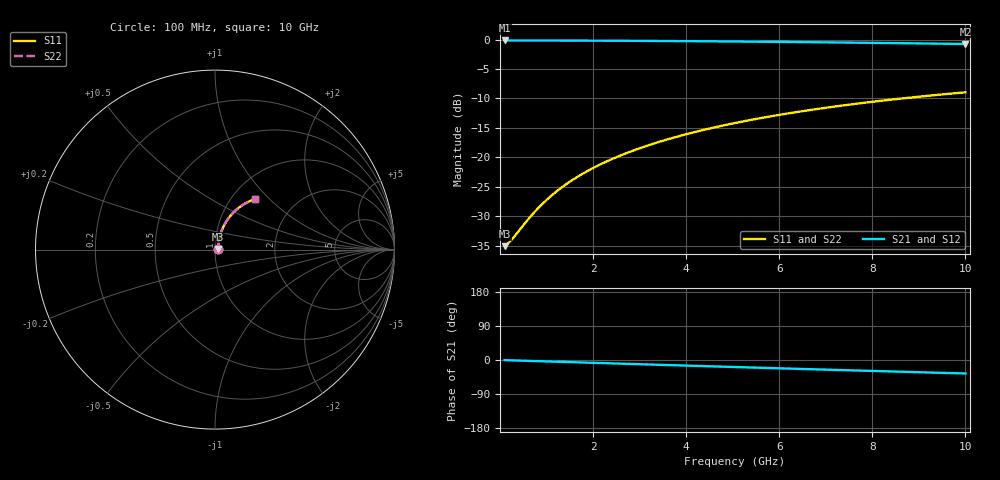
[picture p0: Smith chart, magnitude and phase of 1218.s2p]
# Hz S RI R 50.00
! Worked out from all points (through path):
!   100 points, 100 MHz to 10 GHz, reference 50 ohm
!   highest |S21| = -0.15 dB at 100 MHz (marker M1); lowest = -0.7 dB at 10 GHz (marker M2)
!   group delay of S21, straight-line fit = 9.9 ps
!   lowest |S11| = -35.1 dB at 100 MHz (marker M3), VSWR 1.04, Z = 51.8 + j0.401 ohm
!   |S11| at or under -10 dB: start of sweep to 8.634 GHz
!   |S22| runs from -35.1 to -9.0 dB; largest |S21 - S12| = 0
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1e8  0.0172 0.00387  0.9828 -0.00638  0.9828 -0.00638  0.0172 0.00387
2e8  0.0174 0.00774  0.9826 -0.0128  0.9826 -0.0128  0.0174 0.00774
3e8  0.0176 0.0116  0.9824 -0.0191  0.9824 -0.0191  0.0176 0.0116
6e8  0.0185 0.0232  0.9814 -0.0382  0.9814 -0.0382  0.0185 0.0232
7e8  0.0188 0.027  0.981 -0.0446  0.981 -0.0446  0.0188 0.027
8e8  0.0192 0.0309  0.9805 -0.0509  0.9805 -0.0509  0.0192 0.0309
1e9  0.0202 0.0385  0.9794 -0.0636  0.9794 -0.0636  0.0202 0.0385
1.2e9  0.0214 0.0462  0.9781 -0.0763  0.9781 -0.0763  0.0214 0.0462
1.4e9  0.0227 0.0537  0.9766 -0.0889  0.9766 -0.0889  0.0227 0.0537
1.6e9  0.0243 0.0613  0.9749 -0.1014  0.9749 -0.1014  0.0243 0.0613
1.8e9  0.026 0.0688  0.9729 -0.114  0.9729 -0.114  0.026 0.0688
2.1e9  0.029 0.0799  0.9696 -0.1326  0.9696 -0.1326  0.029 0.0799
2.5e9  0.0336 0.0946  0.9644 -0.1573  0.9644 -0.1573  0.0336 0.0946
2.9e9  0.0389 0.1089  0.9584 -0.1817  0.9584 -0.1817  0.0389 0.1089
3.4e9  0.0465 0.1263  0.9497 -0.2117  0.9497 -0.2117  0.0465 0.1263
4.2e9  0.0609 0.1529  0.9334 -0.2585  0.9334 -0.2585  0.0609 0.1529
5.1e9  0.08 0.1806  0.9116 -0.3089  0.9116 -0.3089  0.08 0.1806
5.9e9  0.0992 0.2031  0.8895 -0.3516  0.8895 -0.3516  0.0992 0.2031
6.7e9  0.1204 0.2232  0.865 -0.392  0.865 -0.392  0.1204 0.2232
7.5e9  0.143 0.241  0.8386 -0.4301  0.8386 -0.4301  0.143 0.241
8.4e9  0.17 0.258  0.8069 -0.4701  0.8069 -0.4701  0.17 0.258
1e10  0.2206 0.2803  0.7464 -0.5334  0.7464 -0.5334  0.2206 0.2803
